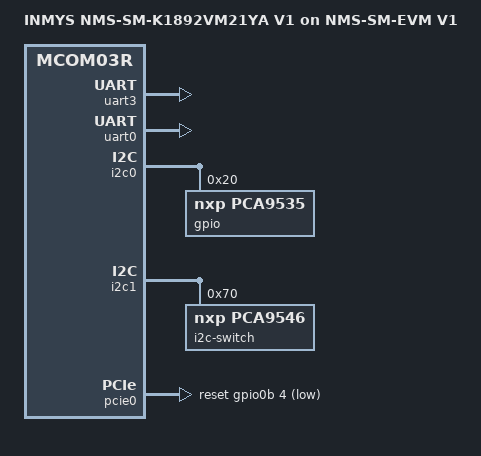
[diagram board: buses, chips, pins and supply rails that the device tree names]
// SPDX-License-Identifier: GPL-2.0+
/*
 * INMYS NMS-SM-K1892VM21YA V1 on NMS-SM-EVM V1 - U-Boot device tree
 *
 * Copyright (C) 2026 INMYS
 */

/dts-v1/;

#include <dt-bindings/gpio/gpio.h>

#include "mcom03r-nms-sm-k1892vm21ya.dtsi"

/ {
	model = "INMYS NMS-SM-K1892VM21YA V1 on NMS-SM-EVM V1";
	compatible = "inmys,nms-sm-evm",
		     "inmys,nms-sm-k1892vm21ya",
		     "inmys,nms-sm-k1892",
		     "elvees,mcom03r";

	aliases {
		ethernet0 = &emac0;
		ethernet1 = &emac1;
	};

	chosen {
		stdout-path = "serial0:115200n8";
	};
};

&uart3 {
	status = "okay";
	clock-frequency = <27920454>;
};

&uart0 {
	status = "okay";
	clock-frequency = <27920454>;
};

/* Carrier PCA9535 (D31) on I2C_PM */
&i2c0 {
	status = "okay";

	gpio@20 {
		compatible = "nxp,pca9535";
		reg = <0x20>;
		gpio-controller;
		#gpio-cells = <2>;
	};
};

/* Carrier fan controller (D32) and I2C switch (D30) on I2C_GP */
&i2c1 {
	status = "okay";

	i2c-switch@70 {
		compatible = "nxp,pca9546";
		reg = <0x70>;
		#address-cells = <1>;
		#size-cells = <0>;

		i2c@0 {
			#address-cells = <1>;
			#size-cells = <0>;
			reg = <0>;
		};

		i2c@1 {
			#address-cells = <1>;
			#size-cells = <0>;
			reg = <1>;
		};

		i2c@2 {
			#address-cells = <1>;
			#size-cells = <0>;
			reg = <2>;
		};

		i2c@3 {
			#address-cells = <1>;
			#size-cells = <0>;
			reg = <3>;
		};
	};
};

&pcie0 {
	status = "okay";
	reset-gpios = <&gpio0b 4 GPIO_ACTIVE_LOW>;
};
